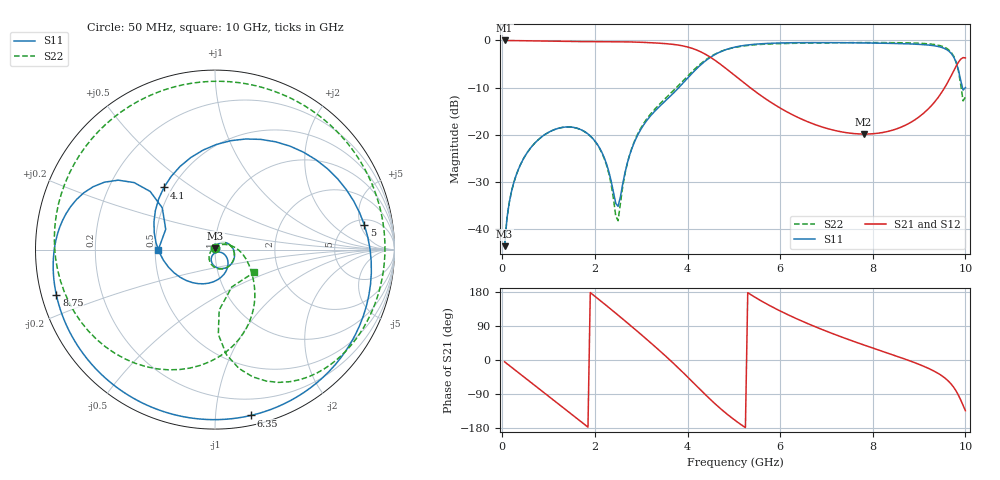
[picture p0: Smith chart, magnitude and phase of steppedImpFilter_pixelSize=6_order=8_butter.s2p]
! freq	dB(S11)	phase(S11)	dB(S12)	phase(S12)
!  dB(S21)	phase(S21)	dB(S22)	phase(S22)
!S-par simulation data
#  GHz  S  DB  R 50
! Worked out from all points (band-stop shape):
!   200 points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, 50 MHz to 10 GHz, reference 50 ohm
!   highest |S21| = -0.01 dB at 50 MHz (marker M1); lowest = -19.9 dB at 7.8 GHz (marker M2)
!   |S21| within 3 dB of the highest: start of sweep to 4.4 GHz
!   lowest |S11| = -43.6 dB at 50 MHz (marker M3), VSWR 1.01, Z = 50.1 + j0.645 ohm
!   |S11| at or under -10 dB: start of sweep to 3.813 GHz; 9.936 GHz to end of sweep
!   |S22| runs from -43.6 to -0.5 dB; largest |S21 - S12| = 0
!   S11 on the Smith chart (normalised r, x): 50 MHz: 1.00, +0.01; 4.1 GHz: 0.45, +0.39; 5 GHz: 6.19, +5.85; 6.35 GHz: 0.07, -1.24; 8.75 GHz: 0.04, -0.14; 10 GHz: 0.52, -0.00
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0.05  -43.64 78.0  -0.01 -4.9  -0.01 -4.9  -43.65 77.9
0.3  -28.58 60.0  -0.05 -28.8  -0.05 -28.8  -28.57 59.2
0.9  -20.10 5.2  -0.15 -86.1  -0.15 -86.1  -20.11 3.1
1.75  -19.19 -74.3  -0.25 -167.5  -0.25 -167.5  -19.21 -78.6
2.2  -24.84 -111.7  -0.26 148.5  -0.26 148.5  -25.02 -126.2
2.5  -35.19 -62.1  -0.28 118.5  -0.28 118.5  -38.25 112.7
2.8  -22.89 -31.1  -0.34 87.8  -0.34 87.8  -22.76 22.4
3.4  -13.97 -108.0  -0.60 24.3  -0.60 24.3  -13.49 -25.4
3.75  -10.65 -168.4  -0.92 -15.0  -0.92 -15.0  -10.11 -45.0
4.1  -6.97 129.4  -1.69 -56.8  -1.69 -56.8  -6.61 -67.6
4.5  -3.54 67.4  -3.61 -104.9  -3.61 -104.9  -3.42 -101.9
5  -1.48 9.3  -7.30 -156.8  -7.30 -156.8  -1.53 -147.3
5.05  -1.37 4.6  -7.69 -161.4  -7.69 -161.4  -1.43 -151.7
5.65  -0.68 -40.9  -12.15 151.9  -12.15 151.9  -0.81 160.1
6.35  -0.49 -77.8  -16.18 109.2  -16.18 109.2  -0.60 110.7
6.7  -0.47 -92.7  -17.66 90.7  -17.66 90.7  -0.55 88.1
7.8  -0.54 -132.2  -19.86 40.0  -19.86 40.0  -0.47 26.0
8.35  -0.62 -150.3  -19.25 17.0  -19.25 17.0  -0.47 -0.5
8.75  -0.73 -163.9  -17.77 0.0  -17.77 0.0  -0.53 -18.6
9.6  -1.98 156.6  -9.22 -52.0  -9.22 -52.0  -1.72 -64.4
9.85  -6.28 138.1  -4.62 -92.9  -4.62 -92.9  -6.50 -87.8
10  -10.01 -179.8  -3.71 -133.7  -3.71 -133.7  -11.99 -30.2
